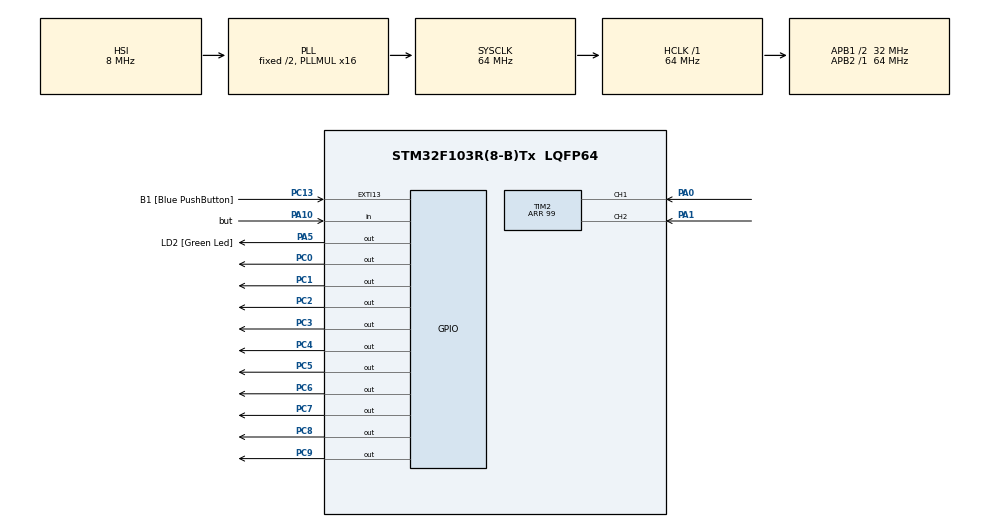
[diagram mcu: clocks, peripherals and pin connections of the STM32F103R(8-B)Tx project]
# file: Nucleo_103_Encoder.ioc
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Mcu.Family=STM32F1
Mcu.Name=STM32F103R(8-B)Tx
Mcu.Package=LQFP64
NVIC.EXTI15_10_IRQn=true\:0\:0\:false\:false\:true\:true\:true
NVIC.PriorityGroup=NVIC_PRIORITYGROUP_4
NVIC.TIM2_IRQn=true\:0\:0\:false\:false\:true\:true\:true
PA0-WKUP.Signal=S_TIM2_CH1_ETR
PA1.Signal=S_TIM2_CH2
PA10.GPIO_Label=but
PA10.GPIO_PuPd=GPIO_PULLUP
PA10.Signal=GPIO_Input
PA13.GPIO_Label=TMS
PA13.Mode=Serial_Wire
PA13.Signal=SYS_JTMS-SWDIO
PA14.GPIO_Label=TCK
PA14.Mode=Serial_Wire
PA14.Signal=SYS_JTCK-SWCLK
PA2.GPIO_Label=USART_TX
PA2.GPIO_Mode=GPIO_MODE_AF_PP
PA2.GPIO_PuPd=GPIO_NOPULL
PA2.GPIO_Speed=GPIO_SPEED_FREQ_LOW
PA2.Signal=USART2_TX
PA3.GPIO_Label=USART_RX
PA3.GPIO_Mode=GPIO_MODE_AF_PP
PA3.GPIO_PuPd=GPIO_NOPULL
PA3.GPIO_Speed=GPIO_SPEED_FREQ_LOW
PA3.Signal=USART2_RX
PA5.GPIO_Label=LD2 [Green Led]
PA5.GPIO_ModeDefaultOutputPP=GPIO_MODE_OUTPUT_PP
PA5.GPIO_PuPd=GPIO_NOPULL
PA5.GPIO_Speed=GPIO_SPEED_FREQ_LOW
PA5.Signal=GPIO_Output
PB3.GPIO_Label=SWO
PB3.Signal=SYS_JTDO-TRACESWO
PC0.Signal=GPIO_Output
PC1.Signal=GPIO_Output
PC13-TAMPER-RTC.GPIO_Label=B1 [Blue PushButton]
PC13-TAMPER-RTC.GPIO_ModeDefaultEXTI=GPIO_MODE_IT_FALLING
PC13-TAMPER-RTC.GPIO_PuPd=GPIO_NOPULL
PC13-TAMPER-RTC.Signal=GPXTI13
PC14-OSC32_IN.Signal=RCC_OSC32_IN
PC15-OSC32_OUT.Signal=RCC_OSC32_OUT
PC2.Signal=GPIO_Output
PC3.Signal=GPIO_Output
PC4.Signal=GPIO_Output
PC5.Signal=GPIO_Output
PC6.Signal=GPIO_Output
PC7.Signal=GPIO_Output
PC8.Signal=GPIO_Output
PC9.Signal=GPIO_Output
PD0-OSC_IN.Signal=RCC_OSC_IN
PD1-OSC_OUT.Signal=RCC_OSC_OUT
ProjectManager.HeapSize=0x200
ProjectManager.StackSize=0x400
ProjectManager.TargetToolchain=MDK-ARM V5.32
RCC.AHBFreq_Value=64000000
RCC.APB1CLKDivider=RCC_HCLK_DIV2
RCC.APB1Freq_Value=32000000
RCC.APB1TimFreq_Value=64000000
RCC.APB2Freq_Value=64000000
RCC.APB2TimFreq_Value=64000000
RCC.HCLKFreq_Value=64000000
RCC.PLLMUL=RCC_PLL_MUL16
RCC.SYSCLKFreq_VALUE=64000000
RCC.SYSCLKSource=RCC_SYSCLKSOURCE_PLLCLK
RCC.USBFreq_Value=64000000
SH.S_TIM2_CH1_ETR.0=TIM2_CH1,Encoder_Interface
SH.S_TIM2_CH2.0=TIM2_CH2,Encoder_Interface
TIM2.EncoderMode=TIM_ENCODERMODE_TI12
TIM2.IC1Filter=10
TIM2.IC1Polarity=TIM_ICPOLARITY_RISING
TIM2.IC1Prescaler=TIM_ICPSC_DIV4
TIM2.IC2Filter=10
TIM2.IC2Polarity=TIM_ICPOLARITY_RISING
TIM2.IC2Prescaler=TIM_ICPSC_DIV4
TIM2.Period=99
board=NUCLEO-F103RB

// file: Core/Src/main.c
/* USER CODE BEGIN Header */
/**
  ******************************************************************************
  * @file           : main.c
  * @brief          : Main program body
  ******************************************************************************
  * @attention
  *
  * <h2><center>&copy; Copyright (c) 2022 STMicroelectronics.
  * All rights reserved.</center></h2>
  *
  * This software component is licensed by ST under BSD 3-Clause license,
  * the "License"; You may not use this file except in compliance with the
  * License. You may obtain a copy of the License at:
  *                        opensource.org/licenses/BSD-3-Clause
  *
  ******************************************************************************
  */
/* USER CODE END Header */
#include "main.h"

/* USER CODE BEGIN PTD */
int hext[8],hexu[8]; // HEXT = TENS VALUE , HEXU = UNITY VALUE
int value=1,i=0,j,k=0;
/* USER CODE END PTD */

TIM_HandleTypeDef htim2;

void SystemClock_Config(void);
static void MX_GPIO_Init(void);
static void MX_TIM2_Init(void);

/* USER CODE BEGIN 0 */
uint32_t counter=0;
int16_t speed,posionend,posionfirst;
int convert(int valueRead)
{
	int number[10] = {64,121,36,48,25,18,3,120,0,24};
	int tensdigit,unitsdigit,unitsdigitv,tensdigitv,bolum,kalan;
	tensdigit = (valueRead/10);
	unitsdigit = (valueRead%10);

	tensdigitv = number[tensdigit];
	unitsdigitv = number[unitsdigit];

	for(int i =0; i<=5;i++)
	{

		bolum=tensdigitv/2;
		kalan=tensdigitv%2;
		hext[i]=kalan;
		tensdigitv=bolum;
		if(i==5)
		{
			hext[i+1]=bolum;
		}
	}

	for(int i =0; i<=5;i++)
	{
		bolum=unitsdigitv/2;
		kalan=unitsdigitv%2;
		hexu[i]=kalan;
		unitsdigitv=bolum;
		if(i==5)
		{
			hexu[i+1]=bolum;
		}
	}

	return 0;
}
int writedis()
{
	HAL_GPIO_WritePin(GPIOC,GPIO_PIN_8,0); // DIGIT 1 LOW
	HAL_GPIO_WritePin(GPIOC,GPIO_PIN_9,1); // DIGIT 0 HIGH
		HAL_GPIO_WritePin(GPIOC, GPIO_PIN_0, hext[0]); //C0 A
	  HAL_GPIO_WritePin(GPIOC, GPIO_PIN_1, hext[1]); //C1 B
	  HAL_GPIO_WritePin(GPIOC, GPIO_PIN_2, hext[2]); //C2 C
	  HAL_GPIO_WritePin(GPIOC, GPIO_PIN_3, hext[3]); //C3 D
	  HAL_GPIO_WritePin(GPIOC, GPIO_PIN_4, hext[4]); //C4 E
	  HAL_GPIO_WritePin(GPIOC, GPIO_PIN_5, hext[5]); //C5 F
	  HAL_GPIO_WritePin(GPIOC, GPIO_PIN_6, hext[6]); //C6 G
	HAL_Delay(2);

	HAL_GPIO_WritePin(GPIOC,GPIO_PIN_9,0); // DIGIT 0 LOW
	HAL_GPIO_WritePin(GPIOC,GPIO_PIN_8,1); // DIGIT 1 HIGH
		HAL_GPIO_WritePin(GPIOC, GPIO_PIN_0, hexu[0]); //C0 A
	  HAL_GPIO_WritePin(GPIOC, GPIO_PIN_1, hexu[1]); //C1 B
	  HAL_GPIO_WritePin(GPIOC, GPIO_PIN_2, hexu[2]); //C2 C
	  HAL_GPIO_WritePin(GPIOC, GPIO_PIN_3, hexu[3]); //C3 D
	  HAL_GPIO_WritePin(GPIOC, GPIO_PIN_4, hexu[4]); //C4 E
	  HAL_GPIO_WritePin(GPIOC, GPIO_PIN_5, hexu[5]); //C5 F
	  HAL_GPIO_WritePin(GPIOC, GPIO_PIN_6, hexu[6]); //C6 G
	HAL_Delay(2);

	return 0;
}

/* USER CODE END 0 */

int main(void)
{

  /* MCU Configuration--------------------------------------------------------*/

  /* Reset of all peripherals, Initializes the Flash interface and the Systick. */
  HAL_Init();

  /* Configure the system clock */
  SystemClock_Config();

  /* Initialize all configured peripherals */
  MX_GPIO_Init();
  MX_TIM2_Init();
  /* USER CODE BEGIN 2 */
	HAL_TIM_Encoder_Start(&htim2,TIM_CHANNEL_ALL); // START ENCODER STRUCTURE WITH TIMMER 2

  /* USER CODE END 2 */

  /* Infinite loop */
  while (1)
  {

    /* USER CODE BEGIN 3 */

		if(HAL_GPIO_ReadPin(GPIOA, GPIO_PIN_10)==0) // A10 PIN ALWAYS READ IF IT BE ZERO
		{
			 __HAL_TIM_SET_COUNTER(&htim2, 0); // TIMMER 2 EQUAL VALUE REGISTER ZERO
		}
		counter = __HAL_TIM_GET_COUNTER(&htim2);
		convert(counter); // INT VALUE CONVERT DIGIT
			for(k=0;k<3;k++) // ALWAYS DISPLAY OPEN
			{
			writedis();
			}
		i++; // IT IS A COUNTER FOR A SPEED
			if(i>=20)
			{
				posionend=counter; // FRIST ENCODER COUNTER
				speed=posionend-posionfirst; // SPEED = FRIST ENCODER VALUE  - END ENCODER VALUE
				posionfirst=posionend; // FRIST ENCODER VALUE = END ENCODER VALUE
				i=0;
			}
  }
  /* USER CODE END 3 */
}

void SystemClock_Config(void)
{
  RCC_OscInitTypeDef RCC_OscInitStruct = {0};
  RCC_ClkInitTypeDef RCC_ClkInitStruct = {0};

  /** Initializes the RCC Oscillators according to the specified parameters
  * in the RCC_OscInitTypeDef structure.
  */
  RCC_OscInitStruct.OscillatorType = RCC_OSCILLATORTYPE_HSI;
  RCC_OscInitStruct.HSIState = RCC_HSI_ON;
  RCC_OscInitStruct.HSICalibrationValue = RCC_HSICALIBRATION_DEFAULT;
  RCC_OscInitStruct.PLL.PLLState = RCC_PLL_ON;
  RCC_OscInitStruct.PLL.PLLSource = RCC_PLLSOURCE_HSI_DIV2;
  RCC_OscInitStruct.PLL.PLLMUL = RCC_PLL_MUL16;
  if (HAL_RCC_OscConfig(&RCC_OscInitStruct) != HAL_OK)
  {
    Error_Handler();
  }
  /** Initializes the CPU, AHB and APB buses clocks
  */
  RCC_ClkInitStruct.ClockType = RCC_CLOCKTYPE_HCLK|RCC_CLOCKTYPE_SYSCLK
                              |RCC_CLOCKTYPE_PCLK1|RCC_CLOCKTYPE_PCLK2;
  RCC_ClkInitStruct.SYSCLKSource = RCC_SYSCLKSOURCE_PLLCLK;
  RCC_ClkInitStruct.AHBCLKDivider = RCC_SYSCLK_DIV1;
  RCC_ClkInitStruct.APB1CLKDivider = RCC_HCLK_DIV2;
  RCC_ClkInitStruct.APB2CLKDivider = RCC_HCLK_DIV1;

  if (HAL_RCC_ClockConfig(&RCC_ClkInitStruct, FLASH_LATENCY_2) != HAL_OK)
  {
    Error_Handler();
  }
}

static void MX_TIM2_Init(void)
{

  TIM_Encoder_InitTypeDef sConfig = {0};
  TIM_MasterConfigTypeDef sMasterConfig = {0};

  htim2.Instance = TIM2;
  htim2.Init.Prescaler = 0;
  htim2.Init.CounterMode = TIM_COUNTERMODE_UP;
  htim2.Init.Period = 99;
  htim2.Init.ClockDivision = TIM_CLOCKDIVISION_DIV1;
  htim2.Init.AutoReloadPreload = TIM_AUTORELOAD_PRELOAD_DISABLE;
  sConfig.EncoderMode = TIM_ENCODERMODE_TI12;
  sConfig.IC1Polarity = TIM_ICPOLARITY_RISING;
  sConfig.IC1Selection = TIM_ICSELECTION_DIRECTTI;
  sConfig.IC1Prescaler = TIM_ICPSC_DIV4;
  sConfig.IC1Filter = 10;
  sConfig.IC2Polarity = TIM_ICPOLARITY_RISING;
  sConfig.IC2Selection = TIM_ICSELECTION_DIRECTTI;
  sConfig.IC2Prescaler = TIM_ICPSC_DIV4;
  sConfig.IC2Filter = 10;
  if (HAL_TIM_Encoder_Init(&htim2, &sConfig) != HAL_OK)
  {
    Error_Handler();
  }
  sMasterConfig.MasterOutputTrigger = TIM_TRGO_RESET;
  sMasterConfig.MasterSlaveMode = TIM_MASTERSLAVEMODE_DISABLE;
  if (HAL_TIMEx_MasterConfigSynchronization(&htim2, &sMasterConfig) != HAL_OK)
  {
    Error_Handler();
  }

}

static void MX_GPIO_Init(void)
{
  GPIO_InitTypeDef GPIO_InitStruct = {0};

  /* GPIO Ports Clock Enable */
  __HAL_RCC_GPIOC_CLK_ENABLE();
  __HAL_RCC_GPIOD_CLK_ENABLE();
  __HAL_RCC_GPIOA_CLK_ENABLE();
  __HAL_RCC_GPIOB_CLK_ENABLE();

  /*Configure GPIO pin Output Level */
  HAL_GPIO_WritePin(GPIOC, GPIO_PIN_0|GPIO_PIN_1|GPIO_PIN_2|GPIO_PIN_3
                          |GPIO_PIN_4|GPIO_PIN_5|GPIO_PIN_6|GPIO_PIN_7
                          |GPIO_PIN_8|GPIO_PIN_9, GPIO_PIN_RESET);

  /*Configure GPIO pin Output Level */
  HAL_GPIO_WritePin(LD2_GPIO_Port, LD2_Pin, GPIO_PIN_RESET);

  /*Configure GPIO pin : B1_Pin */
  GPIO_InitStruct.Pin = B1_Pin;
  GPIO_InitStruct.Mode = GPIO_MODE_IT_FALLING;
  GPIO_InitStruct.Pull = GPIO_NOPULL;
  HAL_GPIO_Init(B1_GPIO_Port, &GPIO_InitStruct);

  /*Configure GPIO pins : PC0 PC1 PC2 PC3
                           PC4 PC5 PC6 PC7
                           PC8 PC9 */
  GPIO_InitStruct.Pin = GPIO_PIN_0|GPIO_PIN_1|GPIO_PIN_2|GPIO_PIN_3
                          |GPIO_PIN_4|GPIO_PIN_5|GPIO_PIN_6|GPIO_PIN_7
                          |GPIO_PIN_8|GPIO_PIN_9;
  GPIO_InitStruct.Mode = GPIO_MODE_OUTPUT_PP;
  GPIO_InitStruct.Pull = GPIO_NOPULL;
  GPIO_InitStruct.Speed = GPIO_SPEED_FREQ_LOW;
  HAL_GPIO_Init(GPIOC, &GPIO_InitStruct);

  /*Configure GPIO pins : USART_TX_Pin USART_RX_Pin */
  GPIO_InitStruct.Pin = USART_TX_Pin|USART_RX_Pin;
  GPIO_InitStruct.Mode = GPIO_MODE_AF_PP;
  GPIO_InitStruct.Speed = GPIO_SPEED_FREQ_LOW;
  HAL_GPIO_Init(GPIOA, &GPIO_InitStruct);

  /*Configure GPIO pin : LD2_Pin */
  GPIO_InitStruct.Pin = LD2_Pin;
  GPIO_InitStruct.Mode = GPIO_MODE_OUTPUT_PP;
  GPIO_InitStruct.Pull = GPIO_NOPULL;
  GPIO_InitStruct.Speed = GPIO_SPEED_FREQ_LOW;
  HAL_GPIO_Init(LD2_GPIO_Port, &GPIO_InitStruct);

  /*Configure GPIO pin : but_Pin */
  GPIO_InitStruct.Pin = but_Pin;
  GPIO_InitStruct.Mode = GPIO_MODE_INPUT;
  GPIO_InitStruct.Pull = GPIO_PULLUP;
  HAL_GPIO_Init(but_GPIO_Port, &GPIO_InitStruct);

  /* EXTI interrupt init*/
  HAL_NVIC_SetPriority(EXTI15_10_IRQn, 0, 0);
  HAL_NVIC_EnableIRQ(EXTI15_10_IRQn);

}

void Error_Handler(void)
{
  __disable_irq();
  while (1)
  {
  }
}

/************************ (C) COPYRIGHT STMicroelectronics *****END OF FILE****/
